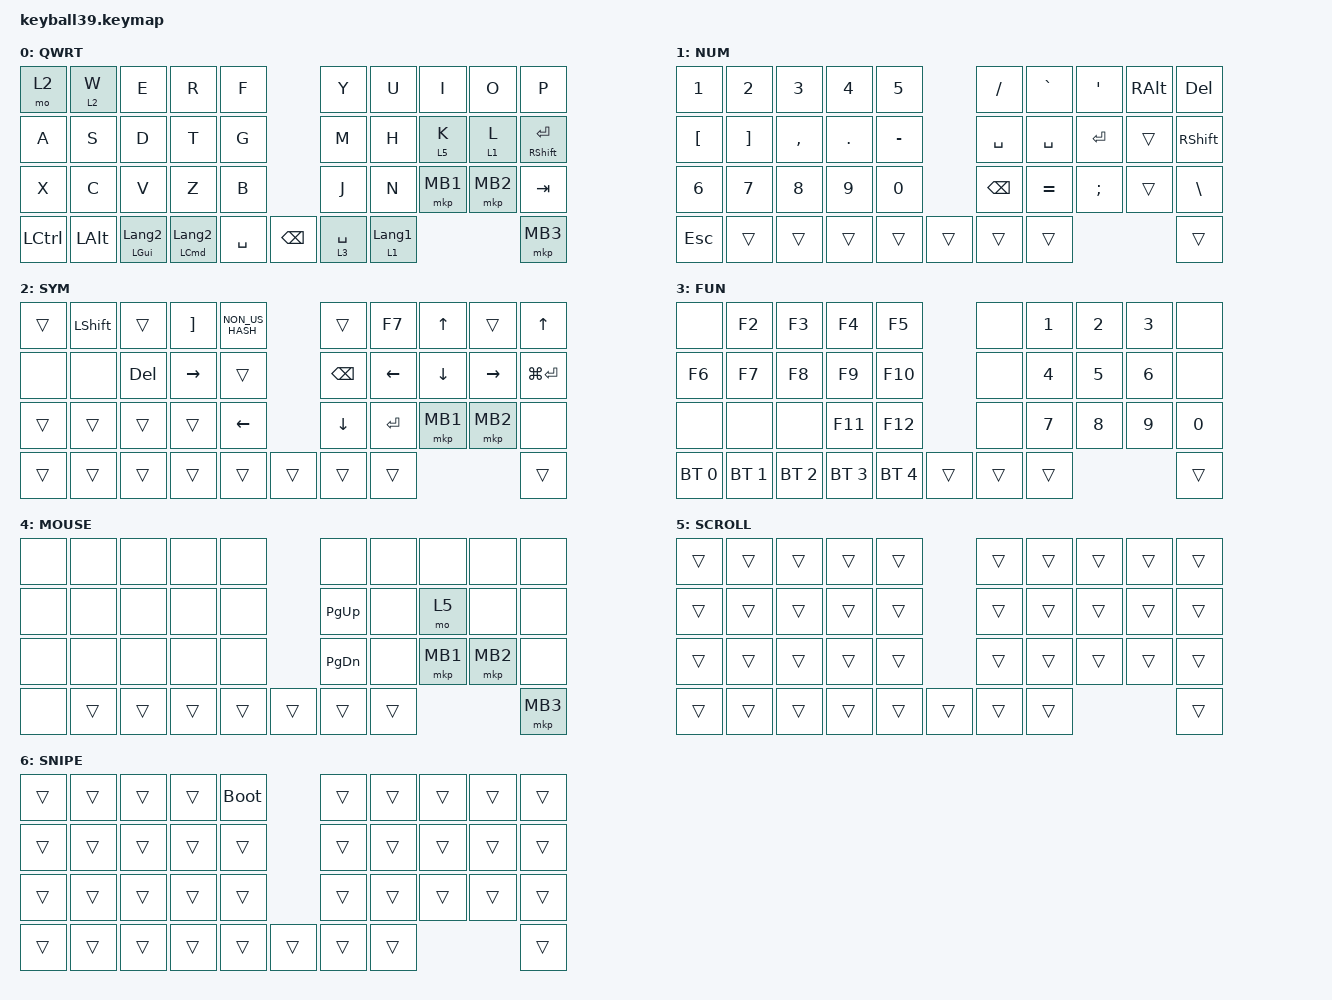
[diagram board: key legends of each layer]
#define DEFAULT 0
#define NUM     1
#define SYM     2
#define FUN     3
#define MOUSE   4
#define SCROLL  5
#define SNIPE   6

#include <behaviors/mouse_keys.dtsi>
#include <dt-bindings/zmk/mouse.h>
#include <behaviors.dtsi>
#include <dt-bindings/zmk/bt.h>
#include <dt-bindings/zmk/keys.h>
#include <dt-bindings/zmk/pointing.h>

&lt {
    tapping-term-ms = <190>;
    flavor = "balanced";
    quick-tap-ms = <150>;
};

&mt {
    tapping-term-ms = <190>;
    flavor = "tap-preferred";
    quick-tap-ms = <150>;
};

&caps_word { continue-list = <UNDERSCORE MINUS>; };

/ {
    // custom shift using mod-morph 

    behaviors {
        cmqus: comma_question {
            compatible = "zmk,behavior-mod-morph";
            label = "COMMA_QUESTION";
            #binding-cells = <0>;
            bindings = <&kp COMMA>, <&kp QUESTION>;

            mods = <(MOD_LSFT|MOD_RSFT)>;
        };

        dtsmi: dot_semi {
            compatible = "zmk,behavior-mod-morph";
            label = "DOT_SEMI";
            #binding-cells = <0>;
            bindings = <&kp DOT>, <&kp SEMI>;

            mods = <(MOD_LSFT|MOD_RSFT)>;
        };
    };

    macros {
        Hiragana: Hiragana {
            compatible = "zmk,behavior-macro";
            #binding-cells = <0>;
            bindings = <&kp LC(SPACE)>;
            label = "HIRAGANA";
        };
    };

    combos {
        compatible = "zmk,combos";

        q {
            bindings = <&kp Q>;
            key-positions = <1 2>;
        };

        b {
            bindings = <&kp B>;
            key-positions = <13 12>;
        };

        y {
            bindings = <&kp Y>;
            key-positions = <13 16>;
        };

        p {
            bindings = <&kp P>;
            key-positions = <8 7>;
        };

        j {
            bindings = <&kp J>;
            key-positions = <16 17>;
        };

        lang1 {
            bindings = <&kp LANGUAGE_1>;
            key-positions = <17 18>;
        };

        lang2 {
            bindings = <&kp LANGUAGE_2>;
            key-positions = <12 11>;
        };
    };

    keymap {
        compatible = "zmk,keymap";

        default_layer {
            label = "QWRT";
            bindings = <
&mo 2             &lt 2 W       &kp E                    &kp R                        &kp F                                  &kp Y             &kp U  &kp I     &kp O     &kp P
&kp A             &kp S         &kp D                    &kp T                        &kp G                                  &kp M             &kp H  &lt 5 K   &lt 1 L   &mt RSHFT ENTER
&kp X             &kp C         &kp V                    &kp Z                        &kp B                                  &kp J             &kp N  &mkp MB1  &mkp MB2  &kp TAB
&kp LEFT_CONTROL  &kp LEFT_ALT  &mt LEFT_GUI LANGUAGE_2  &mt LEFT_COMMAND LANGUAGE_2  &kp SPACE  &kp BACKSPACE  &lt 3 SPACE  &lt 1 LANGUAGE_1                             &mkp MB3
            >;
        };

        Layer1 {
            label = "NUM";
            bindings = <
&kp NUMBER_1  &kp NUMBER_2       &kp NUMBER_3  &kp NUMBER_4  &kp NUMBER_5                  &kp SLASH      &kp GRAVE  &kp APOSTROPHE  &kp RIGHT_ALT  &kp DELETE
&kp LBKT      &kp RIGHT_BRACKET  &kp COMMA     &kp PERIOD    &kp MINUS                     &kp SPACE      &kp SPACE  &kp ENTER       &trans         &kp RIGHT_SHIFT
&kp NUMBER_6  &kp NUMBER_7       &kp NUMBER_8  &kp NUMBER_9  &kp NUMBER_0                  &kp BACKSPACE  &kp EQUAL  &kp SEMI        &trans         &kp BACKSLASH
&kp ESCAPE    &trans             &trans        &trans        &trans        &trans  &trans  &trans                                                   &trans
            >;
        };

        Layer2 {
            label = "SYM";
            bindings = <
&trans  &kp LEFT_SHIFT  &trans      &kp RIGHT_BRACKET  &kp NON_US_HASH                  &trans          &kp F7          &kp UP_ARROW  &trans           &kp UP
&none   &none           &kp DELETE  &kp RIGHT_ARROW    &trans                           &kp BACKSPACE   &kp LEFT_ARROW  &kp DOWN      &kp RIGHT_ARROW  &kp LG(ENTER)
&trans  &trans          &trans      &trans             &kp LEFT_ARROW                   &kp DOWN_ARROW  &kp RET         &mkp MB1      &mkp MB2         &none
&trans  &trans          &trans      &trans             &trans           &trans  &trans  &trans                                                         &trans
            >;
        };

        function_layer {
            label = "FUN";
            bindings = <
&none         &kp F2        &kp F3        &kp F4        &kp F5                        &none   &kp NUMBER_1  &kp NUMBER_2  &kp NUMBER_3  &none
&kp F6        &kp F7        &kp F8        &kp F9        &kp F10                       &none   &kp NUMBER_4  &kp N5        &kp NUMBER_6  &none
&none         &none         &none         &kp F11       &kp F12                       &none   &kp N7        &kp NUMBER_8  &kp NUMBER_9  &kp NUMBER_0
&bt BT_SEL 0  &bt BT_SEL 1  &bt BT_SEL 2  &bt BT_SEL 3  &bt BT_SEL 4  &trans  &trans  &trans                                            &trans
            >;
        };

        mouse_layer {
            label = "MOUSE";
            bindings = <
&none  &none   &none   &none   &none                   &none          &none  &none     &none     &none
&none  &none   &none   &none   &none                   &kp PAGE_UP    &none  &mo 5     &none     &none
&none  &none   &none   &none   &none                   &kp PAGE_DOWN  &none  &mkp MB1  &mkp MB2  &none
&none  &trans  &trans  &trans  &trans  &trans  &trans  &trans                                    &mkp MB3
            >;
        };

        scroll_layer {
            label = "SCROLL";
            bindings = <
&trans  &trans  &trans  &trans  &trans                  &trans  &trans  &trans  &trans  &trans
&trans  &trans  &trans  &trans  &trans                  &trans  &trans  &trans  &trans  &trans
&trans  &trans  &trans  &trans  &trans                  &trans  &trans  &trans  &trans  &trans
&trans  &trans  &trans  &trans  &trans  &trans  &trans  &trans                          &trans
            >;
        };

        snipe_layer {
            label = "SNIPE";
            bindings = <
&trans  &trans  &trans  &trans  &bootloader                  &trans  &trans  &trans  &trans  &trans
&trans  &trans  &trans  &trans  &trans                       &trans  &trans  &trans  &trans  &trans
&trans  &trans  &trans  &trans  &trans                       &trans  &trans  &trans  &trans  &trans
&trans  &trans  &trans  &trans  &trans       &trans  &trans  &trans                          &trans
            >;
        };
    };
};
